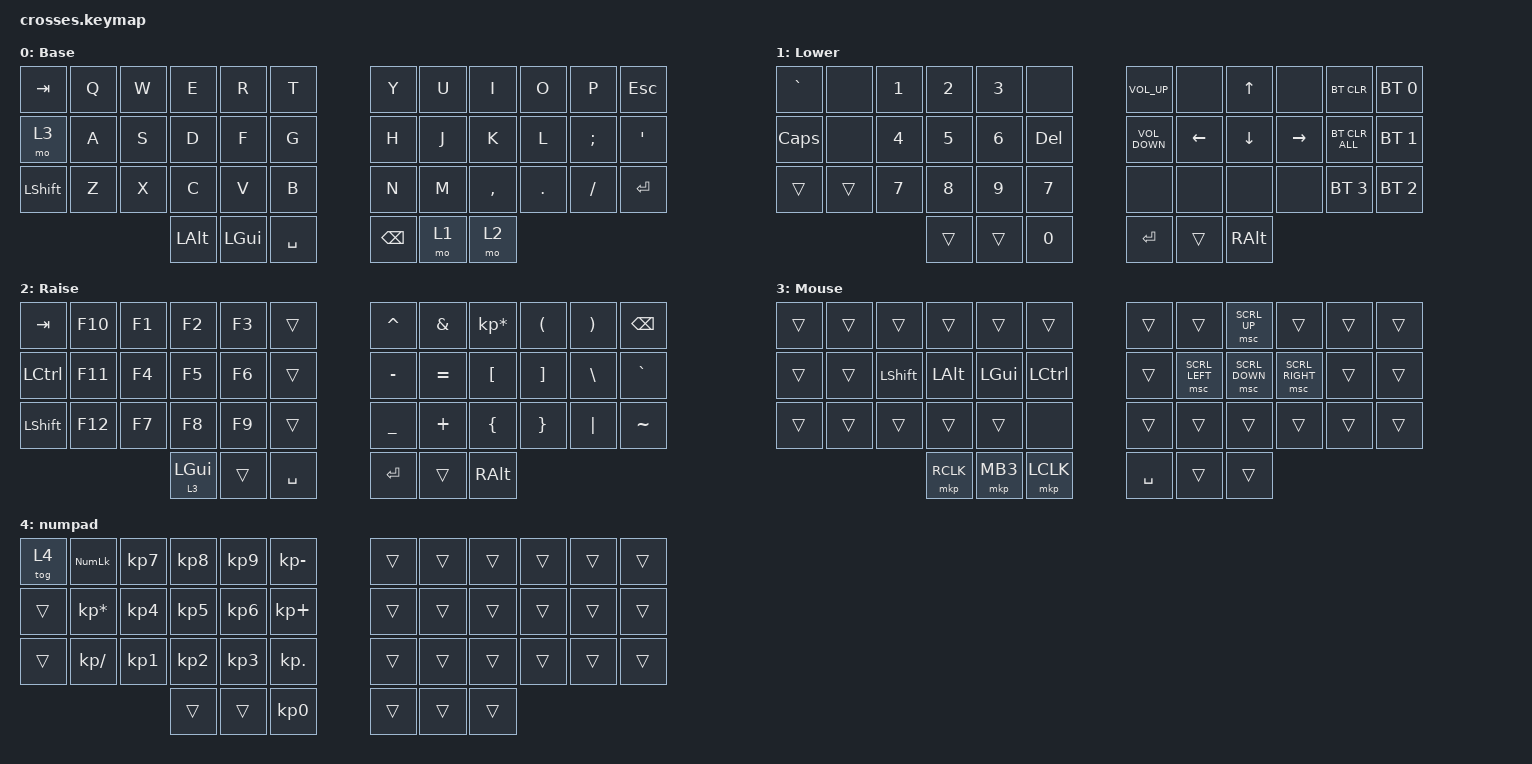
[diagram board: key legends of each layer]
#include <behaviors.dtsi>
#include <dt-bindings/zmk/bt.h>
#include <dt-bindings/zmk/keys.h>
#include <dt-bindings/zmk/pointing.h>

/ {
    chosen { zmk,physical-layout = &gggw_crosses_42_layout; };

    combos {
        compatible = "zmk,combos";

        lctrl {
            bindings = <&kp LCTRL>;
            key-positions = <25 26>;
            layers = <0>;
        };

        tgnumpad {
            bindings = <&tog 4>;
            key-positions = <41 40>;
        };
    };

    keymap {
        compatible = "zmk,keymap";

        default_layer {
            display-name = "Base";
            bindings = <
&kp TAB    &kp Q  &kp W  &kp E         &kp R         &kp T      &kp Y          &kp U  &kp I      &kp O    &kp P     &kp ESC
&mo 3      &kp A  &kp S  &kp D         &kp F         &kp G      &kp H          &kp J  &kp K      &kp L    &kp SEMI  &kp SQT
&kp LSHFT  &kp Z  &kp X  &kp C         &kp V         &kp B      &kp N          &kp M  &kp COMMA  &kp DOT  &kp FSLH  &kp ENTER
                         &kp LEFT_ALT  &kp LEFT_GUI  &kp SPACE  &kp BACKSPACE  &mo 1  &mo 2
            >;
        };

        lower_layer {
            display-name = "Lower";
            bindings = <
&kp GRAVE     &none   &kp N1  &kp N2  &kp N3  &none       &kp K_VOLUME_UP    &none     &kp UP    &none      &bt BT_CLR      &bt BT_SEL 0
&kp CAPSLOCK  &none   &kp N4  &kp N5  &kp N6  &kp DELETE  &kp C_VOLUME_DOWN  &kp LEFT  &kp DOWN  &kp RIGHT  &bt BT_CLR_ALL  &bt BT_SEL 1
&trans        &trans  &kp N7  &kp N8  &kp N9  &kp N7      &none              &none     &none     &none      &bt BT_SEL 3    &bt BT_SEL 2
                              &trans  &trans  &kp N0      &kp RET            &trans    &kp RALT
            >;
        };

        raise_layer {
            display-name = "Raise";
            bindings = <
&kp TAB    &kp F10  &kp F1  &kp F2      &kp F3  &trans     &kp CARET  &kp AMPS   &kp KP_MULTIPLY  &kp LPAR  &kp RPAR  &kp BSPC
&kp LCTRL  &kp F11  &kp F4  &kp F5      &kp F6  &trans     &kp MINUS  &kp EQUAL  &kp LBKT         &kp RBKT  &kp BSLH  &kp GRAVE
&kp LSHFT  &kp F12  &kp F7  &kp F8      &kp F9  &trans     &kp UNDER  &kp PLUS   &kp LBRC         &kp RBRC  &kp PIPE  &kp TILDE
                            &lt 3 LGUI  &trans  &kp SPACE  &kp RET    &trans     &kp RALT
            >;
        };

        mouse_layer {
            display-name = "Mouse";
            bindings = <
&trans  &trans  &trans          &trans        &trans        &trans     &trans     &trans          &msc SCRL_UP    &trans           &trans  &trans
&trans  &trans  &kp LEFT_SHIFT  &kp LEFT_ALT  &kp LEFT_GUI  &kp LCTRL  &trans     &msc SCRL_LEFT  &msc SCRL_DOWN  &msc SCRL_RIGHT  &trans  &trans
&trans  &trans  &trans          &trans        &trans        &none      &trans     &trans          &trans          &trans           &trans  &trans
                                &mkp RCLK     &mkp MB3      &mkp LCLK  &kp SPACE  &trans          &trans
            >;
        };

        numpad {
            bindings = <
&tog 4  &kp KP_NUMLOCK   &kp KP_NUMBER_7  &kp KP_NUMBER_8  &kp KP_NUMBER_9  &kp KP_MINUS     &trans  &trans  &trans  &trans  &trans  &trans
&trans  &kp KP_MULTIPLY  &kp KP_NUMBER_4  &kp KP_NUMBER_5  &kp KP_NUMBER_6  &kp KP_PLUS      &trans  &trans  &trans  &trans  &trans  &trans
&trans  &kp KP_DIVIDE    &kp KP_NUMBER_1  &kp KP_NUMBER_2  &kp KP_NUMBER_3  &kp KP_DOT       &trans  &trans  &trans  &trans  &trans  &trans
                                          &trans           &trans           &kp KP_NUMBER_0  &trans  &trans  &trans
            >;
        };
    };
};
